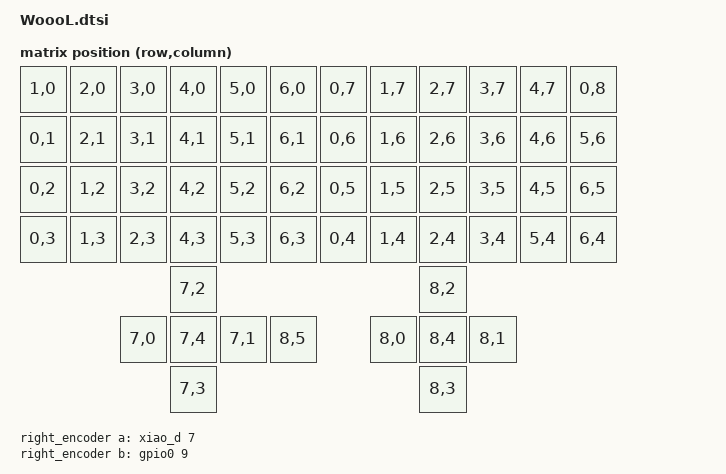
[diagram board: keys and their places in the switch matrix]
#include <dt-bindings/zmk/matrix_transform.h>
#include <dt-bindings/input/input-event-codes.h>
#include <dt-bindings/zmk/input_transform.h>
#include <input/processors.dtsi>
#include <physical_layouts.dtsi>

#define ARROW 1
#define NUM 2
#define AHK 3
#define FUNCTION 4

&gpio0 {
    status = "okay";
};

/ {
    chosen {
        zmk,physical-layout = &WoooL_physical_layout;
    };

    WoooL_physical_layout: WoooL_physical_layout {
        compatible = "zmk,physical-layout";
        display-name = "Default";
        transform = <&default_transform>;
        kscan = <&kscan0>;

        keys  //                     w   h    x    y     rot    rx    ry
            = <&key_physical_attrs 100 100     0    0      0     0     0>
            , <&key_physical_attrs 100 100   100    0      0     0     0>
            , <&key_physical_attrs 100 100   200    0      0     0     0>
            , <&key_physical_attrs 100 100   300    0      0     0     0>
            , <&key_physical_attrs 100 100   400    0      0     0     0>
            , <&key_physical_attrs 100 100   500    0      0     0     0>
            , <&key_physical_attrs 100 100   600    0      0     0     0>
            , <&key_physical_attrs 100 100   700    0      0     0     0>
            , <&key_physical_attrs 100 100   800    0      0     0     0>
            , <&key_physical_attrs 100 100   900    0      0     0     0>
            , <&key_physical_attrs 100 100  1000    0      0     0     0>
            , <&key_physical_attrs 100 100  1100    0      0     0     0>
            , <&key_physical_attrs 100 100     0  100      0     0     0>
            , <&key_physical_attrs 100 100   100  100      0     0     0>
            , <&key_physical_attrs 100 100   200  100      0     0     0>
            , <&key_physical_attrs 100 100   300  100      0     0     0>
            , <&key_physical_attrs 100 100   400  100      0     0     0>
            , <&key_physical_attrs 100 100   500  100      0     0     0>
            , <&key_physical_attrs 100 100   600  100      0     0     0>
            , <&key_physical_attrs 100 100   700  100      0     0     0>
            , <&key_physical_attrs 100 100   800  100      0     0     0>
            , <&key_physical_attrs 100 100   900  100      0     0     0>
            , <&key_physical_attrs 100 100  1000  100      0     0     0>
            , <&key_physical_attrs 100 100  1100  100      0     0     0>
            , <&key_physical_attrs 100 100     0  200      0     0     0>
            , <&key_physical_attrs 100 100   100  200      0     0     0>
            , <&key_physical_attrs 100 100   200  200      0     0     0>
            , <&key_physical_attrs 100 100   300  200      0     0     0>
            , <&key_physical_attrs 100 100   400  200      0     0     0>
            , <&key_physical_attrs 100 100   500  200      0     0     0>
            , <&key_physical_attrs 100 100   600  200      0     0     0>
            , <&key_physical_attrs 100 100   700  200      0     0     0>
            , <&key_physical_attrs 100 100   800  200      0     0     0>
            , <&key_physical_attrs 100 100   900  200      0     0     0>
            , <&key_physical_attrs 100 100  1000  200      0     0     0>
            , <&key_physical_attrs 100 100  1100  200      0     0     0>
            , <&key_physical_attrs 100 100     0  300      0     0     0>
            , <&key_physical_attrs 100 100   100  300      0     0     0>
            , <&key_physical_attrs 100 100   200  300      0     0     0>
            , <&key_physical_attrs 100 100   300  300      0     0     0>
            , <&key_physical_attrs 100 100   400  300      0     0     0>
            , <&key_physical_attrs 100 100   500  300      0     0     0>
            , <&key_physical_attrs 100 100   600  300      0     0     0>
            , <&key_physical_attrs 100 100   700  300      0     0     0>
            , <&key_physical_attrs 100 100   800  300      0     0     0>
            , <&key_physical_attrs 100 100   900  300      0     0     0>
            , <&key_physical_attrs 100 100  1000  300      0     0     0>
            , <&key_physical_attrs 100 100  1100  300      0     0     0>
            , <&key_physical_attrs 100 100  1200  300      0     0     0>
            , <&key_physical_attrs 100 100   300  450      0     0     0>
            , <&key_physical_attrs 100 100   800  450      0     0     0>
            , <&key_physical_attrs 100 100   200  550      0     0     0>
            , <&key_physical_attrs 100 100   300  550      0     0     0>
            , <&key_physical_attrs 100 100   400  550      0     0     0>
            , <&key_physical_attrs 100 100   550  550      0     0     0>
            , <&key_physical_attrs 100 100   700  550      0     0     0>
            , <&key_physical_attrs 100 100   800  550      0     0     0>
            , <&key_physical_attrs 100 100   900  550      0     0     0>
            , <&key_physical_attrs 100 100   300  650      0     0     0>
            , <&key_physical_attrs 100 100   800  650      0     0     0>
            ;
    };

    kscan0: kscan_0 {
        compatible = "zmk,kscan-gpio-charlieplex";
        interrupt-gpios = <&xiao_d 6 (GPIO_ACTIVE_HIGH | GPIO_PULL_DOWN)>;
        gpios
            = <&xiao_d 0 GPIO_ACTIVE_HIGH>
            , <&xiao_d 1 GPIO_ACTIVE_HIGH>
            , <&xiao_d 2 GPIO_ACTIVE_HIGH>
            , <&xiao_d 3 GPIO_ACTIVE_HIGH>
            , <&xiao_d 4 GPIO_ACTIVE_HIGH>
            , <&xiao_d 5 GPIO_ACTIVE_HIGH>
            , <&xiao_d 8 GPIO_ACTIVE_HIGH>
            , <&xiao_d 9 GPIO_ACTIVE_HIGH>
            , <&xiao_d 10 GPIO_ACTIVE_HIGH>
            ;
    };

    default_transform: keymap_transform_0 {
        compatible = "zmk,matrix-transform";
        rows = <12>;
        columns = <12>;
        map = <
            RC(1,0) RC(2,0) RC(3,0) RC(4,0) RC(5,0) RC(6,0)   RC(0,7) RC(1,7) RC(2,7) RC(3,7) RC(4,7) RC(0,8)
            RC(0,1) RC(2,1) RC(3,1) RC(4,1) RC(5,1) RC(6,1)   RC(0,6) RC(1,6) RC(2,6) RC(3,6) RC(4,6) RC(5,6)
            RC(0,2) RC(1,2) RC(3,2) RC(4,2) RC(5,2) RC(6,2)   RC(0,5) RC(1,5) RC(2,5) RC(3,5) RC(4,5) RC(6,5)
            RC(0,3) RC(1,3) RC(2,3) RC(4,3) RC(5,3) RC(6,3)   RC(0,4) RC(1,4) RC(2,4) RC(3,4) RC(5,4) RC(6,4)
                                    RC(7,2)                                 RC(8,2)
                            RC(7,0) RC(7,4) RC(7,1)    RC(8,5)      RC(8,0) RC(8,4) RC(8,1)
                                    RC(7,3)                                 RC(8,3)
        >;
    };

    right_encoder: encoder_right {
        compatible = "alps,ec11";
        a-gpios = <&xiao_d 7 (GPIO_ACTIVE_HIGH | GPIO_PULL_UP)>;
        b-gpios = <&gpio0 9 (GPIO_ACTIVE_HIGH | GPIO_PULL_UP)>;
        steps = <20>;
        status = "disabled";
    };

    sensors: sensors {
        compatible = "zmk,keymap-sensors";
        sensors = <&right_encoder>;
        triggers-per-rotation = <12>;
    };
};

&xiao_i2c { status = "disabled"; };
&xiao_serial { status = "disabled"; };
